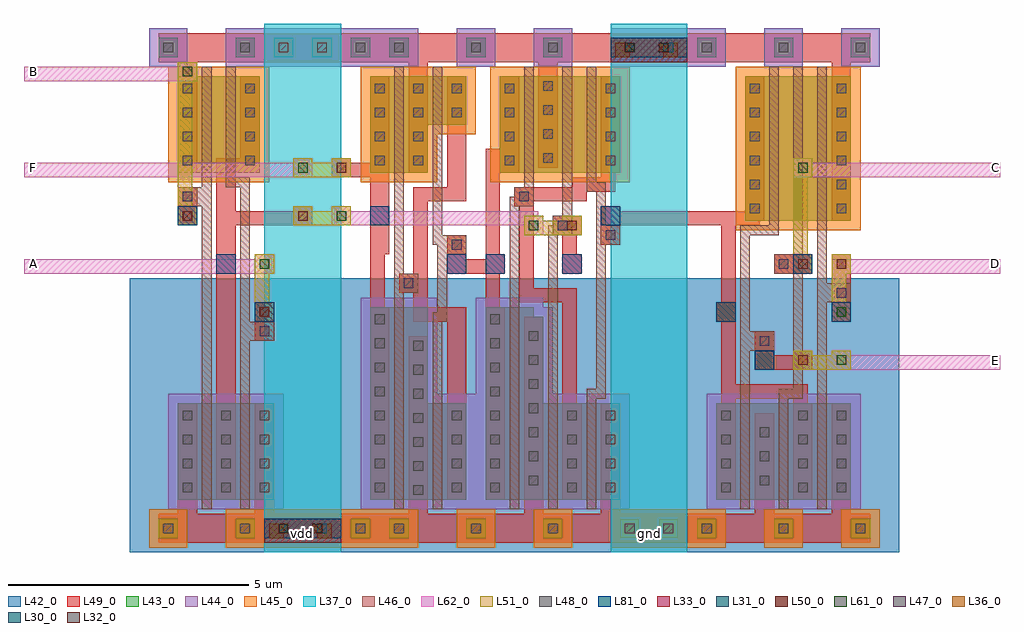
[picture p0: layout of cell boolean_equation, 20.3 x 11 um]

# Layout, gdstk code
from math import pi, radians
import gdstk
lib = gdstk.Library(unit=1e-6, precision=1e-09)
def R(c, l, rs):  # rectangles x0, y0, x1, y1
    for r in rs: c.add(gdstk.rectangle(r[:2], r[2:], *l))
def A(c, l, x, y, w, h, nx, ny, dx, dy):  # array of equal rectangles
    R(c, l, [(x+i*dx, y+j*dy, x+i*dx+w, y+j*dy+h) for i in range(nx) for j in range(ny)])
L30_0 = (30, 0)
L31_0 = (31, 0)
L32_0 = (32, 0)
L33_0 = (33, 0)
L36_0 = (36, 0)
L37_0 = (37, 0)
L42_0 = (42, 0)
L43_0 = (43, 0)
L44_0 = (44, 0)
L45_0 = (45, 0)
L46_0 = (46, 0)
L47_0 = (47, 0)
L48_0 = (48, 0)
L49_0 = (49, 0)
L50_0 = (50, 0)
L51_0 = (51, 0)
L61_0 = (61, 0)
L62_0 = (62, 0)
L81_0 = (81, 0)

nand3x1 = lib.new_cell('NAND3X1')
R(nand3x1, L42_0, [(-0.8,4.8,4,10.5)])
R(nand3x1, L43_0, [(-0.2,-0.2,0.2,0.2), (1.4,-0.2,1.8,0.2), (0.2,0.6,2.4,3.6), (0.2,7.4,3,9.4), (-0.2,9.8,0.2,10.2), (1.4,9.8,1.8,10.2)])
R(nand3x1, L44_0, [(-0.4,-0.4,0.4,0.4), (1.2,-0.4,2,0.4), (0,7.2,3.2,9.6)])
R(nand3x1, L45_0, [(0,0.4,2.6,3.8), (-0.4,9.6,0.4,10.4), (1.2,9.6,2,10.4)])
R(nand3x1, L46_0, [(0.7,0.4,0.9,4.9), (1.2,0.4,1.4,4.3), (1.7,0.4,1.9,3.7), (1.7,3.7,2.5,3.9), (2.3,3.9,2.5,5.9), (1.2,4.3,1.8,4.7), (1.2,4.7,1.4,7.1), (0.2,4.9,0.9,5.3), (0.7,5.3,0.9,9.6), (1.8,5.9,2.5,6.3), (2.3,6.3,2.5,9.6), (1.2,7.1,1.7,7.3), (1.5,7.3,1.7,9.6)])
R(nand3x1, L47_0, [(1.5,4.4,1.7,4.6), (0.3,5,0.5,5.2), (1.9,6,2.1,6.2)])
A(nand3x1, L48_0, 0.3, 0.75, 0.2, 0.2, 1, 6, 0, 0.5)
A(nand3x1, L48_0, 2.1, 0.75, 0.2, 0.2, 1, 6, 0, 0.5)
A(nand3x1, L48_0, 0.3, 7.55, 0.2, 0.2, 1, 4, 0, 0.5)
A(nand3x1, L48_0, 1.1, 7.55, 0.2, 0.2, 1, 4, 0, 0.5)
A(nand3x1, L48_0, 2.7, 7.55, 0.2, 0.2, 1, 4, 0, 0.5)
A(nand3x1, L48_0, 1.9, 7.9, 0.2, 0.2, 1, 3, 0, 0.5)
R(nand3x1, L48_0, [(-0.1,-0.1,0.1,0.1), (1.5,-0.1,1.7,0.1), (-0.1,9.9,0.1,10.1), (1.5,9.9,1.7,10.1)])
R(nand3x1, L49_0, [(-0.2,-0.3,3.4,0.3), (0.2,0.3,0.6,3.6), (2,0.6,2.4,3.4), (2,3.4,2.9,3.6), (2.1,3.6,2.9,3.7), (2.6,3.7,2.9,5.3), (1,4.3,1.8,4.7), (0.2,4.9,0.6,5.7), (2.6,5.3,3,5.7), (2.6,5.7,2.9,7), (1.8,5.9,2.2,6.7), (1.1,7,2.9,7.3), (1.1,7.3,1.4,7.4), (2.6,7.3,2.9,7.4), (0.2,7.4,0.6,9.7), (1,7.4,1.4,9.4), (2.6,7.4,3,9.4), (1.8,7.6,2.2,9.7), (-0.2,9.7,3.4,10.3)])
R(nand3x1, L81_0, [(1,4.3,1.4,4.7), (0.2,5.3,0.6,5.7), (2.6,5.3,3,5.7), (1.8,6.3,2.2,6.7)])
nand3x1.add(gdstk.Label('B', (1.2,4.5), layer=109, texttype=0))
nand3x1.add(gdstk.Label('vdd', (0.4,10), layer=109, texttype=0))
nand3x1.add(gdstk.Label('gnd', (0.4,0), layer=109, texttype=0))
nand3x1.add(gdstk.Label('A', (0.4,5.5), layer=109, texttype=0))
nand3x1.add(gdstk.Label('C', (2,6.5), layer=109, texttype=0))
nand3x1.add(gdstk.Label('Y', (2.8,5.5), layer=109, texttype=0))

and2x2 = lib.new_cell('AND2X2')
R(and2x2, L42_0, [(-0.8,4.8,4,10.5)])
R(and2x2, L43_0, [(-0.2,-0.2,0.2,0.2), (1.4,-0.2,1.8,0.2), (0.2,0.6,2.7,2.6), (2,5.4,3,5.6), (1.8,5.6,3,7.4), (0.2,7.4,3,9.4), (-0.2,9.8,0.2,10.2), (1.4,9.8,1.8,10.2)])
R(and2x2, L44_0, [(-0.4,-0.4,0.4,0.4), (1.2,-0.4,2,0.4), (1.8,5.2,3.2,5.4), (1.6,5.4,3.2,7.2), (0,7.2,3.2,9.6)])
R(and2x2, L45_0, [(0,0.4,2.9,2.8), (-0.4,9.6,0.4,10.4), (1.2,9.6,2,10.4)])
R(and2x2, L46_0, [(0.7,0.4,0.9,2.8), (1.2,0.4,1.4,3.5), (2,0.4,2.2,2.9), (0.5,2.8,0.9,3), (2,2.9,2.4,3.1), (0.5,3,0.7,3.7), (2,3.1,2.5,3.3), (2.3,3.3,2.5,9.6), (1.2,3.5,1.6,3.7), (0.2,3.7,0.7,4.1), (1.2,3.7,1.7,3.9), (1.5,3.9,1.7,9.6), (0.5,4.1,0.7,7.1), (0.5,7.1,0.9,7.3), (0.7,7.3,0.9,9.6)])
R(and2x2, L47_0, [(2.1,3,2.3,3.2), (1.3,3.6,1.5,3.8), (0.3,3.8,0.5,4)])
A(and2x2, L48_0, 1.6, 0.7, 0.2, 0.2, 1, 4, 0, 0.5)
A(and2x2, L48_0, 0.3, 0.75, 0.2, 0.2, 1, 4, 0, 0.5)
A(and2x2, L48_0, 2.4, 0.75, 0.2, 0.2, 1, 4, 0, 0.5)
A(and2x2, L48_0, 2.7, 5.55, 0.2, 0.2, 1, 8, 0, 0.5)
A(and2x2, L48_0, 1.9, 5.9, 0.2, 0.2, 1, 7, 0, 0.5)
A(and2x2, L48_0, 0.3, 7.55, 0.2, 0.2, 1, 4, 0, 0.5)
A(and2x2, L48_0, 1.1, 7.55, 0.2, 0.2, 1, 4, 0, 0.5)
R(and2x2, L48_0, [(-0.1,-0.1,0.1,0.1), (1.5,-0.1,1.7,0.1), (-0.1,9.9,0.1,10.1), (1.5,9.9,1.7,10.1)])
R(and2x2, L49_0, [(-0.2,-0.3,3.4,0.3), (1.5,0.3,1.9,2.5), (0.2,0.6,0.6,2.6), (2.3,0.6,2.7,2.1), (2.3,2.1,3,2.6), (0.3,2.6,0.6,2.7), (2.7,2.6,3,4.3), (0.3,2.7,1.2,2.9), (0.3,2.9,2.4,3), (0.9,3,2.4,3.2), (2,3.2,2.4,3.3), (0.2,3.3,0.6,4.1), (2,3.3,2.3,5), (1.2,3.5,1.6,3.6), (1.1,3.6,1.6,3.9), (1.1,3.9,1.4,4.3), (1,4.3,1.4,4.7), (2.6,4.3,3,4.7), (2.7,4.7,3,5.4), (1.1,5,2.3,5.3), (1.1,5.3,1.4,7.4), (2.6,5.4,3,9.4), (1.8,5.6,2.2,9.7), (0.2,7.4,0.6,9.7), (1,7.4,1.4,9.4), (-0.2,9.7,3.4,10.3)])
R(and2x2, L81_0, [(0.2,3.3,0.6,3.7), (1,4.3,1.4,4.7), (2.6,4.3,3,4.7)])
and2x2.add(gdstk.Label('vdd', (0.4,10), layer=109, texttype=0))
and2x2.add(gdstk.Label('gnd', (0.4,0), layer=109, texttype=0))
and2x2.add(gdstk.Label('A', (0.4,3.5), layer=109, texttype=0))
and2x2.add(gdstk.Label('B', (1.2,4.5), layer=109, texttype=0))
and2x2.add(gdstk.Label('Y', (2.8,4.5), layer=109, texttype=0))

bufx2 = lib.new_cell('BUFX2')
R(bufx2, L42_0, [(-0.5,4.8,2.8,10.5)])
R(bufx2, L43_0, [(-0.2,-0.2,0.2,0.2), (1.4,-0.2,1.8,0.2), (0.2,0.6,2.2,1.6), (1,1.6,2.2,2.6), (1,5.4,2.2,7.4), (0.2,7.4,2.2,9.4), (-0.2,9.8,0.2,10.2), (1.4,9.8,1.8,10.2)])
R(bufx2, L44_0, [(-0.4,-0.4,0.4,0.4), (1.2,-0.4,2,0.4), (0.8,5.2,2.4,7.2), (0,7.2,2.4,9.6)])
R(bufx2, L45_0, [(0,0.4,2.4,1.8), (0.8,1.8,2.4,2.8), (-0.4,9.6,0.4,10.4), (1.2,9.6,2,10.4)])
R(bufx2, L46_0, [(0.7,0.4,0.9,3.9), (1.5,0.4,1.7,4.7), (0.2,3.9,0.9,4.1), (0.2,4.1,0.8,4.3), (0.6,4.3,0.8,5.5), (1.2,4.7,1.7,5.1), (1.5,5.1,1.7,9.6), (0.6,5.5,0.9,5.7), (0.7,5.7,0.9,9.6)])
R(bufx2, L47_0, [(0.3,4,0.5,4.2), (1.3,4.8,1.5,5)])
A(bufx2, L48_0, 0.3, 0.75, 0.2, 0.2, 3, 2, 0.8, 0.5)
A(bufx2, L48_0, 1.9, 5.55, 0.2, 0.2, 1, 8, 0, 0.5)
A(bufx2, L48_0, 1.1, 6.1, 0.2, 0.2, 1, 7, 0, 0.5)
A(bufx2, L48_0, 0.3, 7.55, 0.2, 0.2, 1, 4, 0, 0.5)
R(bufx2, L48_0, [(-0.1,-0.1,0.1,0.1), (1.5,-0.1,1.7,0.1), (1.1,1.75,1.3,1.95), (1.9,1.75,2.1,1.95), (1.1,2.25,1.3,2.45), (1.9,2.25,2.1,2.45), (-0.1,9.9,0.1,10.1), (1.5,9.9,1.7,10.1)])
R(bufx2, L49_0, [(-0.2,-0.3,2.6,0.3), (1,0.3,1.4,2.6), (0.2,0.6,0.6,2.9), (1.8,0.6,2.2,4.3), (0.2,2.9,1.3,3.2), (1,3.2,1.3,4.7), (0.2,3.9,0.6,4.7), (1.9,4.3,2.2,5.4), (1,4.7,1.6,5.1), (1,5.1,1.3,5.4), (0.2,5.4,1.3,5.7), (1.8,5.4,2.2,9.4), (0.2,5.7,0.6,9.4), (1,6,1.4,9.7), (-0.2,9.7,2.6,10.3)])
R(bufx2, L81_0, [(1.8,3.3,2.2,3.7), (0.2,4.3,0.6,4.7)])
bufx2.add(gdstk.Label('vdd', (0.4,10), layer=109, texttype=0))
bufx2.add(gdstk.Label('gnd', (0.4,0), layer=109, texttype=0))
bufx2.add(gdstk.Label('A', (0.4,4.5), layer=109, texttype=0))
bufx2.add(gdstk.Label('Y', (2,3.5), layer=109, texttype=0))

fill = lib.new_cell('FILL')
R(fill, L42_0, [(-0.8,4.8,1.6,10.5)])
R(fill, L43_0, [(-0.2,-0.2,0.2,0.2), (0.6,-0.2,1,0.2), (-0.2,9.8,0.2,10.2), (0.6,9.8,1,10.2)])
R(fill, L44_0, [(-0.4,-0.4,1.2,0.4)])
R(fill, L45_0, [(-0.4,9.6,1.2,10.4)])
R(fill, L48_0, [(-0.1,-0.1,0.1,0.1), (0.7,-0.1,0.9,0.1), (-0.1,9.9,0.1,10.1), (0.7,9.9,0.9,10.1)])
R(fill, L49_0, [(-0.2,-0.3,1,0.3), (-0.2,9.7,1,10.3)])
fill.add(gdstk.Label('vdd', (0.4,10), layer=109, texttype=0))
fill.add(gdstk.Label('gnd', (0.4,0), layer=109, texttype=0))

nand2x1 = lib.new_cell('NAND2X1')
R(nand2x1, L42_0, [(-0.8,4.8,3.2,10.5)])
R(nand2x1, L43_0, [(-0.2,-0.2,0.2,0.2), (1.4,-0.2,1.8,0.2), (0.2,0.6,1.9,2.6), (0.2,7.4,2.2,9.4), (-0.2,9.8,0.2,10.2), (1.4,9.8,1.8,10.2)])
R(nand2x1, L44_0, [(-0.4,-0.4,0.4,0.4), (1.2,-0.4,2,0.4), (0,7.2,2.4,9.6)])
R(nand2x1, L45_0, [(0,0.4,2.1,2.8), (-0.4,9.6,0.4,10.4), (1.2,9.6,2,10.4)])
R(nand2x1, L46_0, [(0.7,0.4,0.9,2.9), (1.2,0.4,1.4,2.7), (1.2,2.7,1.7,2.9), (0.2,2.9,0.9,3.3), (1.5,2.9,1.7,5.7), (0.7,3.3,0.9,9.6), (1.5,5.7,2.2,6.1), (1.5,6.1,1.7,9.6)])
R(nand2x1, L47_0, [(0.3,3,0.5,3.2), (1.9,5.8,2.1,6)])
A(nand2x1, L48_0, 0.3, 0.75, 0.2, 0.2, 1, 4, 0, 0.5)
A(nand2x1, L48_0, 1.6, 0.75, 0.2, 0.2, 1, 4, 0, 0.5)
A(nand2x1, L48_0, 0.3, 7.55, 0.2, 0.2, 3, 4, 0.8, 0.5)
R(nand2x1, L48_0, [(-0.1,-0.1,0.1,0.1), (1.5,-0.1,1.7,0.1), (-0.1,9.9,0.1,10.1), (1.5,9.9,1.7,10.1)])
R(nand2x1, L49_0, [(-0.2,-0.3,2.6,0.3), (0.2,0.3,0.6,2.6), (1.5,0.6,1.9,2.3), (1,2.3,1.9,2.6), (1,2.6,1.4,9.4), (0.2,2.9,0.6,3.7), (1.8,5.3,2.2,6.1), (0.2,7.4,0.6,9.7), (1.8,7.4,2.2,9.7), (-0.2,9.7,2.6,10.3)])
R(nand2x1, L81_0, [(0.2,3.3,0.6,3.7), (1,4.3,1.4,4.7), (1.8,5.3,2.2,5.7)])
nand2x1.add(gdstk.Label('vdd', (0.4,10), layer=109, texttype=0))
nand2x1.add(gdstk.Label('Y', (1.2,4.5), layer=109, texttype=0))
nand2x1.add(gdstk.Label('gnd', (0.4,0), layer=109, texttype=0))
nand2x1.add(gdstk.Label('A', (0.4,3.5), layer=109, texttype=0))
nand2x1.add(gdstk.Label('B', (2,5.5), layer=109, texttype=0))

boolean_equation = lib.new_cell('boolean_equation')
R(boolean_equation, L30_0, [(2.7,0.4,2.9,0.6), (3.5,0.4,3.7,0.6), (9.9,10.4,10.1,10.6), (10.7,10.4,10.9,10.6)])
R(boolean_equation, L31_0, [(2.4,0.3,4,0.7), (9.6,10.3,11.2,10.7)])
R(boolean_equation, L32_0, [(2.7,0.4,2.9,0.6), (3.4,0.4,3.6,0.6), (9.9,10.4,10.1,10.6), (10.6,10.4,10.8,10.6)])
R(boolean_equation, L33_0, [(2.4,0.2,4,0.7), (9.6,10.2,11.2,10.7)])
R(boolean_equation, L36_0, [(2.5,0.3,2.8,0.6), (3.5,0.3,3.8,0.6), (9.7,10.3,10,10.6), (10.7,10.3,11,10.6)])
R(boolean_equation, L37_0, [(2.4,0,4,11), (9.6,0,11.2,11)])
R(boolean_equation, L49_0, [(2.4,0.3,4,0.7), (12.6,3.8,13.8,4.1), (13.4,4.1,13.8,4.2), (2.2,4.8,2.6,5.2), (14.2,5.6,14.6,6.2), (6.2,5.8,7.3,6.1), (13.4,5.8,13.8,6.2), (8.6,6.6,9,7), (0.6,6.8,1,7.2), (1.4,6.8,3.4,7.1), (9.4,6.8,12.4,7.1), (3,7.1,3.4,7.2), (3.8,7.8,4.9,8.1), (3.8,8.1,4.2,8.2), (9.6,10.3,11.2,10.7)])
R(boolean_equation, L50_0, [(2.7,0.4,2.9,0.6), (3.4,0.4,3.6,0.6), (13.5,3.9,13.7,4.1), (2.3,4.9,2.5,5.1), (13.5,5.9,13.7,6.1), (14.3,5.9,14.5,6.1), (8.7,6.7,8.9,6.9), (0.7,6.9,0.9,7.1), (3.1,6.9,3.3,7.1), (3.9,7.9,4.1,8.1), (9.9,10.4,10.1,10.6), (10.6,10.4,10.8,10.6)])
R(boolean_equation, L51_0, [(2.4,0.3,4,0.7), (13.4,3.8,14.6,4.1), (13.4,4.1,13.8,4.2), (14.2,4.1,14.6,4.2), (2.2,4.8,2.6,5.2), (14.2,4.8,14.6,5.2), (2.2,5.2,2.5,5.8), (14.2,5.2,14.5,5.8), (2.2,5.8,2.6,6.2), (13.4,5.8,13.8,6.2), (14.2,5.8,14.6,6.2), (13.4,6.2,13.7,7.8), (7.8,6.6,9,6.9), (0.6,6.8,1,7.2), (3,6.8,4.2,7.1), (7.8,6.9,8.2,7), (8.6,6.9,9,7), (3,7.1,3.4,7.2), (3.8,7.1,4.2,7.2), (0.6,7.2,0.9,9.8), (3,7.8,4.2,8.1), (13.4,7.8,13.8,8.2), (3,8.1,3.4,8.2), (3.8,8.1,4.2,8.2), (0.6,9.8,1,10.2), (9.6,10.3,11.2,10.7)])
R(boolean_equation, L61_0, [(2.7,0.4,2.9,0.6), (3.4,0.4,3.6,0.6), (14.3,3.9,14.5,4.1), (14.3,4.9,14.5,5.1), (2.3,5.9,2.5,6.1), (7.9,6.7,8.1,6.9), (3.9,6.9,4.1,7.1), (3.1,7.9,3.3,8.1), (13.5,7.9,13.7,8.1), (0.7,9.9,0.9,10.1), (9.9,10.4,10.1,10.6), (10.6,10.4,10.8,10.6)])
R(boolean_equation, L62_0, [(2.4,0.3,4,0.7), (14.2,3.8,17.7,4.1), (14.2,4.1,14.6,4.2), (14.2,4.8,14.6,5.2), (14.2,5.2,14.5,5.8), (-2.6,5.8,2.6,6.1), (14.2,5.8,17.7,6.1), (2.2,6.1,2.6,6.2), (7.8,6.6,8.2,6.8), (3.8,6.8,8.2,7), (3.8,7,8.1,7.1), (3.8,7.1,4.2,7.2), (-2.6,7.8,3.4,8.1), (13.4,7.8,17.7,8.1), (3,8.1,3.4,8.2), (13.4,8.1,13.8,8.2), (-2.6,9.8,1,10.1), (0.6,10.1,1,10.2), (9.6,10.3,11.2,10.7)])
boolean_equation.add(gdstk.Reference(nand3x1, (14.8,10.5), rotation=pi))
boolean_equation.add(gdstk.Reference(and2x2, (10,10.5), rotation=pi))
boolean_equation.add(gdstk.Reference(bufx2, (6.8,10.5), rotation=pi))
boolean_equation.add(gdstk.Reference(fill, (11.6,10.5), rotation=pi))
boolean_equation.add(gdstk.Reference(fill, (10.8,10.5), rotation=pi))
boolean_equation.add(gdstk.Reference(fill, (4.4,10.5), rotation=pi))
boolean_equation.add(gdstk.Reference(fill, (3.6,10.5), rotation=pi))
boolean_equation.add(gdstk.Reference(nand2x1, (0.4,10.5), x_reflection=True))
boolean_equation.add(gdstk.Label('vdd', (3.2,0.4), layer=37, texttype=0))
boolean_equation.add(gdstk.Label('gnd', (10.4,0.4), layer=37, texttype=0))
boolean_equation.add(gdstk.Label('A', (-2.4,6), layer=62, texttype=0))
boolean_equation.add(gdstk.Label('B', (-2.4,10), layer=62, texttype=0))
boolean_equation.add(gdstk.Label('C', (17.6,8), layer=62, texttype=0))
boolean_equation.add(gdstk.Label('D', (17.6,6), layer=62, texttype=0))
boolean_equation.add(gdstk.Label('E', (17.6,4), layer=62, texttype=0))
boolean_equation.add(gdstk.Label('F', (-2.4,8), layer=62, texttype=0))

lib.write_gds('boolean_equation.gds')
